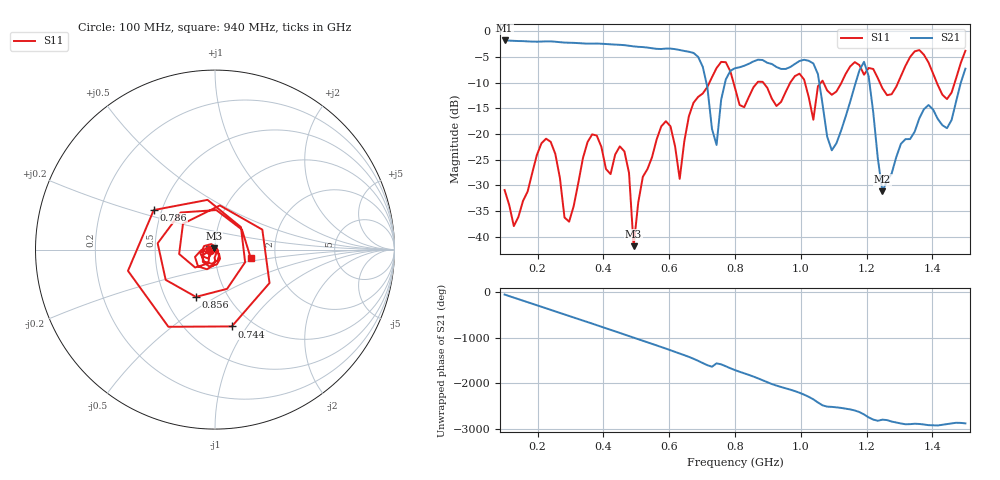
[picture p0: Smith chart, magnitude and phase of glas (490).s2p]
! NanoVNA-App
! Date: 2025-09-25 15:59:17
! Start: 100MHz Stop: 1,5GHz Points: 101
! S-Parameter data: F S11 S21 S12 S22
# Hz S RI R 50
!  Frequency  S11_Real  S11_Imag  S21_Real  S21_Imag  S12_Real  S12_Imag  S22_Real  S22_Imag
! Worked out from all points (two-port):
!   101 points, 100 MHz to 1.5 GHz, reference 50 ohm
!   highest |S21| = -1.80 dB at 100 MHz (marker M1); lowest = -31.2 dB at 1.248 GHz (marker M2)
!   |S21| within 3 dB of the highest: start of sweep to 684.4 MHz
!   lowest |S11| = -41.9 dB at 492 MHz (marker M3), VSWR 1.02, Z = 49.5 + j0.621 ohm
!   |S11| at or under -10 dB: start of sweep to 722.4 MHz; 795.4 MHz to 867.9 MHz (72.43 MHz wide, 8.71 % of centre); 885.7 MHz to 967.9 MHz (82.22 MHz wide, 8.87 % of centre) (the widest 3 of 7)
!   S12 and S22 are empty: the file has one direction only
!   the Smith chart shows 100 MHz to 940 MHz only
!   S11 on the Smith chart (normalised r, x): 100 MHz: 0.95, -0.01; 744 MHz: 0.80, -0.85; 786 MHz: 0.45, +0.24; 856 MHz: 0.71, -0.41; 940 MHz: 1.49, -0.15
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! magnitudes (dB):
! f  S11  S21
! 100 MHz  -30.9  -1.8
! 128 MHz  -37.9  -1.9
! 226 MHz  -20.9  -2.0
! 296 MHz  -37.1  -2.2
! 338 MHz  -24.7  -2.4
! 464 MHz  -23.4  -2.7
! 492 MHz  -41.9  -3.0
! 576 MHz  -18.5  -3.5
! 632 MHz  -28.8  -3.7
! 702 MHz  -12.1  -6.9
! 744 MHz  -7.2  -22.2
! 786 MHz  -7.8  -7.7
! 800 MHz  -11.1  -7.2
! 856 MHz  -10.9  -5.9
! 940 MHz  -13.8  -7.4
! 996 MHz  -8.3  -5.8
! 1.038 GHz  -17.2  -6.3
! 1.094 GHz  -12.4  -23.2
! 1.192 GHz  -8.5  -6.0
! 1.248 GHz  -11.1  -31.2
! 1.276 GHz  -12.3  -27.7
! 1.5 GHz  -3.8  -7.3
